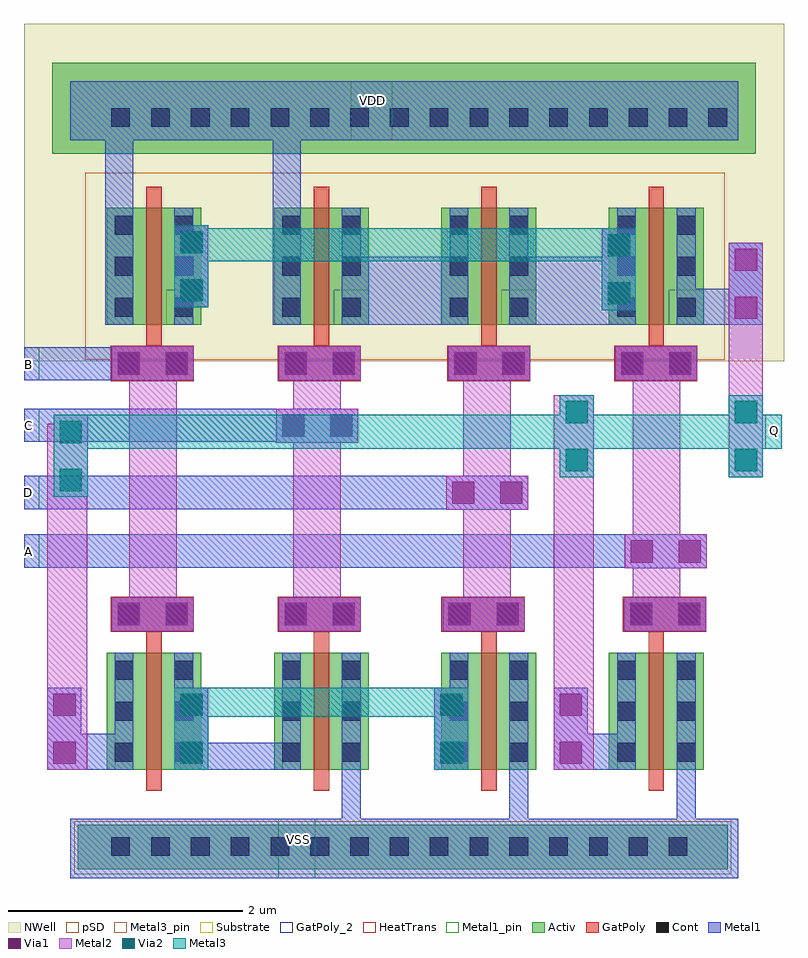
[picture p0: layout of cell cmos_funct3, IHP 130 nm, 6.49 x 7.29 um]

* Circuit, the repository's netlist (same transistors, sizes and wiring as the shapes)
** sch_path: /home/juan/Documents/Digital_module/Lab1/cmos_funct3.sch
.subckt cmos_funct3 Q B C D A VDD VSS
*.opin Q
*.ipin B
*.ipin C
*.ipin D
*.ipin A
*.ipin VDD
*.ipin VSS
M1 net1 C VDD VDD sg13_lv_pmos w=1u l=0.13u ng=1 m=1
M2 net2 B VDD VDD sg13_lv_pmos w=1u l=0.13u ng=1 m=1
M3 net2 D net1 VDD sg13_lv_pmos w=1u l=0.13u ng=1 m=1
M4 Q A net2 VDD sg13_lv_pmos w=1u l=0.13u ng=1 m=1
M5 Q B net3 VSS sg13_lv_nmos w=1u l=0.13u ng=1 m=1
M6 Q A VSS VSS sg13_lv_nmos w=1u l=0.13u ng=1 m=1
M7 net3 C VSS VSS sg13_lv_nmos w=1u l=0.13u ng=1 m=1
M8 net3 D VSS VSS sg13_lv_nmos w=1u l=0.13u ng=1 m=1
**.ends
.end

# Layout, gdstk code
import gdstk
lib = gdstk.Library(unit=1e-6, precision=1e-09)
def R(c, l, rs):  # rectangles x0, y0, x1, y1
    for r in rs: c.add(gdstk.rectangle(r[:2], r[2:], *l))
def A(c, l, x, y, w, h, nx, ny, dx, dy):  # array of equal rectangles
    R(c, l, [(x+i*dx, y+j*dy, x+i*dx+w, y+j*dy+h) for i in range(nx) for j in range(ny)])
Activ = (1, 0)
GatPoly = (5, 0)
GatPoly_2 = (5, 2)
Cont = (6, 0)
Metal1 = (8, 0)
Metal1_pin = (8, 2)
Metal2 = (10, 0)
pSD = (14, 0)
Via1 = (19, 0)
Via2 = (29, 0)
Metal3 = (30, 0)
Metal3_pin = (30, 2)
NWell = (31, 0)
Substrate = (40, 0)
HeatTrans = (51, 0)

pmos_1 = lib.new_cell('pmos$1')
R(pmos_1, Activ, [(0,0,0.3,0.3), (0,0,0.81,1), (0.51,0,0.81,0.3)])
R(pmos_1, GatPoly, [(0.34,-0.18,0.47,1.18), (0.34,-0.18,0.47,1.18)])
A(pmos_1, Cont, 0.07, 0.07, 0.16, 0.16, 1, 3, 0, 0.35)
A(pmos_1, Cont, 0.58, 0.07, 0.16, 0.16, 1, 3, 0, 0.35)
R(pmos_1, Metal1, [(0.07,0,0.23,1), (0.07,0,0.23,1), (0.58,0,0.74,1), (0.58,0,0.74,1)])
R(pmos_1, pSD, [(-0.18,-0.3,0.99,1.3)])
R(pmos_1, NWell, [(-0.31,-0.31,1.12,1.31)])
R(pmos_1, Substrate, [(0.51,0,0.81,0.3)])
R(pmos_1, HeatTrans, [(0.34,-0.18,0.47,1.18)])
pmos_1.add(gdstk.Label('pmos', (0.405,0.5), layer=63, texttype=0))
pmos_1.add(gdstk.Label('pmos', (0.405,0.5), layer=51, texttype=0))

nmos_1 = lib.new_cell('nmos$1')
R(nmos_1, Activ, [(0,0,0.3,0.3), (0,0,0.81,1), (0.51,0,0.81,0.3)])
R(nmos_1, GatPoly, [(0.34,-0.18,0.47,1.18)])
R(nmos_1, GatPoly_2, [(0.34,-0.18,0.47,1.18)])
A(nmos_1, Cont, 0.07, 0.07, 0.16, 0.16, 1, 3, 0, 0.35)
A(nmos_1, Cont, 0.58, 0.07, 0.16, 0.16, 1, 3, 0, 0.35)
R(nmos_1, Metal1, [(0.07,0,0.23,1), (0.58,0,0.74,1)])
R(nmos_1, Metal1_pin, [(0.07,0,0.23,1), (0.58,0,0.74,1)])
R(nmos_1, HeatTrans, [(0.34,-0.18,0.47,1.18)])
nmos_1.add(gdstk.Label('nmos', (0.405,0.5), layer=63, texttype=0))
nmos_1.add(gdstk.Label('nmos', (0.405,0.5), layer=51, texttype=0))

via_stack_1 = lib.new_cell('via_stack$1')
R(via_stack_1, Metal1, [(-0.35,-0.145,0.35,0.145)])
R(via_stack_1, Metal2, [(-0.35,-0.145,0.35,0.145)])
R(via_stack_1, Via1, [(-0.3,-0.095,-0.11,0.095), (0.11,-0.095,0.3,0.095)])

via_stack = lib.new_cell('via_stack')
R(via_stack, Metal1, [(-0.145,-0.35,0.145,0.35)])
R(via_stack, Metal2, [(-0.145,-0.35,0.145,0.35)])
R(via_stack, Via1, [(-0.095,-0.3,0.095,-0.11), (-0.095,0.11,0.095,0.3)])
R(via_stack, Via2, [(-0.095,-0.3,0.095,-0.11), (-0.095,0.11,0.095,0.3)])
R(via_stack, Metal3, [(-0.145,-0.35,0.145,0.35)])

via_stack_2 = lib.new_cell('via_stack$2')
R(via_stack_2, Metal1, [(-0.145,-0.35,0.145,0.35)])
R(via_stack_2, Metal2, [(-0.145,-0.35,0.145,0.35)])
R(via_stack_2, Via1, [(-0.095,-0.3,0.095,-0.11), (-0.095,0.11,0.095,0.3)])

via_stack_4 = lib.new_cell('via_stack$4')
R(via_stack_4, Metal2, [(-0.145,-0.35,0.145,0.35)])
R(via_stack_4, Via2, [(-0.095,-0.3,0.095,-0.11), (-0.095,0.11,0.095,0.3)])
R(via_stack_4, Metal3, [(-0.145,-0.35,0.145,0.35)])

cmos_funct3 = lib.new_cell('cmos_funct3')
R(cmos_funct3, Activ, [(-1.27,-4.26,4.28,-3.88), (-1.49,1.85,4.52,2.63)])
R(cmos_funct3, GatPoly, [(-0.99,-2.23,-0.28,-1.93), (-0.99,-2.23,-0.28,-1.93), (0.435,-2.23,1.145,-1.93), (0.435,-2.23,1.145,-1.93), (1.835,-2.23,2.545,-1.93), (1.835,-2.23,2.545,-1.93), (3.385,-2.23,4.095,-1.93), (3.385,-2.23,4.095,-1.93), (-0.99,-0.09,-0.28,0.21), (-0.99,-0.09,-0.28,0.21), (0.435,-0.09,1.145,0.21), (0.435,-0.09,1.145,0.21), (1.885,-0.09,2.595,0.21), (1.885,-0.09,2.595,0.21), (3.31,-0.09,4.02,0.21), (3.31,-0.09,4.02,0.21)])
A(cmos_funct3, Cont, -0.985, -4.145, 0.16, 0.16, 5, 2, 0.34, 6.225)
A(cmos_funct3, Cont, 0.375, -4.145, 0.16, 0.16, 11, 1, 0.34, 0)
A(cmos_funct3, Cont, 0.375, 2.08, 0.16, 0.16, 12, 1, 0.34, 0)
R(cmos_funct3, Cont, [(-0.92,-2.16,-0.76,-2), (-0.92,-2.16,-0.76,-2), (-0.51,-2.16,-0.35,-2), (0.505,-2.16,0.665,-2), (0.505,-2.16,0.665,-2), (0.915,-2.16,1.075,-2), (1.905,-2.16,2.065,-2), (1.905,-2.16,2.065,-2), (2.315,-2.16,2.475,-2), (3.455,-2.16,3.615,-2), (3.455,-2.16,3.615,-2), (3.865,-2.16,4.025,-2), (-0.92,-0.02,-0.76,0.14), (-0.92,-0.02,-0.76,0.14), (-0.51,-0.02,-0.35,0.14), (0.505,-0.02,0.665,0.14), (0.505,-0.02,0.665,0.14), (0.915,-0.02,1.075,0.14), (1.955,-0.02,2.115,0.14), (1.955,-0.02,2.115,0.14), (2.365,-0.02,2.525,0.14), (3.38,-0.02,3.54,0.14), (3.38,-0.02,3.54,0.14), (3.79,-0.02,3.95,0.14)])
R(cmos_funct3, Metal1, [(-1.335,-4.335,4.37,-3.83), (0.985,-3.915,1.145,-3.41), (3.845,-3.88,4.005,-3.41), (2.415,-3.86,2.575,-3.4), (-1.53,-3.41,-0.955,-3.1), (-0.285,-3.41,0.475,-3.18), (2.795,-3.41,3.37,-3.1), (-0.98,-2.225,-0.28,-1.935), (-0.98,-2.225,-0.28,-1.935), (-0.98,-2.225,-0.28,-1.935), (-0.98,-2.225,-0.28,-1.935), (-0.98,-2.225,-0.28,-1.935), (-0.98,-2.225,-0.28,-1.935), (0.445,-2.225,1.145,-1.935), (0.445,-2.225,1.145,-1.935), (0.445,-2.225,1.145,-1.935), (0.445,-2.225,1.145,-1.935), (0.445,-2.225,1.145,-1.935), (0.445,-2.225,1.145,-1.935), (1.845,-2.225,2.545,-1.935), (1.845,-2.225,2.545,-1.935), (1.845,-2.225,2.545,-1.935), (1.845,-2.225,2.545,-1.935), (1.845,-2.225,2.545,-1.935), (1.845,-2.225,2.545,-1.935), (3.395,-2.225,4.095,-1.935), (3.395,-2.225,4.095,-1.935), (3.395,-2.225,4.095,-1.935), (3.395,-2.225,4.095,-1.935), (3.395,-2.225,4.095,-1.935), (3.395,-2.225,4.095,-1.935), (-1.73,-1.685,3.875,-1.4), (-1.73,-1.185,2.425,-0.9), (-1.73,-0.61,0.975,-0.325), (-1.73,-0.085,-0.98,0.2), (-0.98,-0.085,-0.28,0.205), (-0.98,-0.085,-0.28,0.205), (-0.98,-0.085,-0.28,0.205), (-0.98,-0.085,-0.28,0.205), (-0.98,-0.085,-0.28,0.205), (-0.98,-0.085,-0.28,0.205), (0.445,-0.085,1.145,0.205), (0.445,-0.085,1.145,0.205), (0.445,-0.085,1.145,0.205), (0.445,-0.085,1.145,0.205), (0.445,-0.085,1.145,0.205), (0.445,-0.085,1.145,0.205), (1.895,-0.085,2.595,0.205), (1.895,-0.085,2.595,0.205), (1.895,-0.085,2.595,0.205), (1.895,-0.085,2.595,0.205), (1.895,-0.085,2.595,0.205), (1.895,-0.085,2.595,0.205), (3.32,-0.085,4.02,0.205), (3.32,-0.085,4.02,0.205), (3.32,-0.085,4.02,0.205), (3.32,-0.085,4.02,0.205), (3.32,-0.085,4.02,0.205), (3.32,-0.085,4.02,0.205), (-1.035,0.39,-0.795,1.965), (0.395,0.39,0.635,1.965), (1.145,0.39,1.905,0.97), (2.575,0.39,3.335,0.97), (4.005,0.39,4.58,0.7), (-1.335,1.965,4.37,2.47)])
R(cmos_funct3, Metal1_pin, [(0.44,-4.335,0.755,-3.83), (-1.73,-1.685,-1.6,-1.4), (-1.73,-1.185,-1.6,-0.9), (-1.73,-0.61,-1.6,-0.325), (-1.73,-0.085,-1.6,0.2), (1.06,1.965,1.415,2.47)])
R(cmos_funct3, Metal2, [(-1.53,-3.41,-1.19,-0.455), (2.795,-3.41,3.135,-0.21), (-0.98,-2.225,-0.28,-1.935), (-0.98,-2.225,-0.28,-1.935), (-0.98,-2.225,-0.28,-1.935), (-0.98,-2.225,-0.28,-1.935), (-0.98,-2.225,-0.28,-1.935), (-0.98,-2.225,-0.28,-1.935), (0.445,-2.225,1.145,-1.935), (0.445,-2.225,1.145,-1.935), (0.445,-2.225,1.145,-1.935), (0.445,-2.225,1.145,-1.935), (0.445,-2.225,1.145,-1.935), (0.445,-2.225,1.145,-1.935), (1.845,-2.225,2.545,-1.935), (1.845,-2.225,2.545,-1.935), (1.845,-2.225,2.545,-1.935), (1.845,-2.225,2.545,-1.935), (1.845,-2.225,2.545,-1.935), (1.845,-2.225,2.545,-1.935), (3.395,-2.225,4.095,-1.935), (3.395,-2.225,4.095,-1.935), (3.395,-2.225,4.095,-1.935), (3.395,-2.225,4.095,-1.935), (3.395,-2.225,4.095,-1.935), (3.395,-2.225,4.095,-1.935), (3.47,-1.945,3.875,-0.075), (-0.83,-1.94,-0.425,-0.075), (0.57,-1.94,0.975,-0.08), (2.02,-1.94,2.425,-0.075), (4.29,-0.67,4.58,0.39), (-0.98,-0.085,-0.28,0.205), (-0.98,-0.085,-0.28,0.205), (-0.98,-0.085,-0.28,0.205), (-0.98,-0.085,-0.28,0.205), (-0.98,-0.085,-0.28,0.205), (-0.98,-0.085,-0.28,0.205), (0.445,-0.085,1.145,0.205), (0.445,-0.085,1.145,0.205), (0.445,-0.085,1.145,0.205), (0.445,-0.085,1.145,0.205), (0.445,-0.085,1.145,0.205), (0.445,-0.085,1.145,0.205), (1.895,-0.085,2.595,0.205), (1.895,-0.085,2.595,0.205), (1.895,-0.085,2.595,0.205), (1.895,-0.085,2.595,0.205), (1.895,-0.085,2.595,0.205), (1.895,-0.085,2.595,0.205), (3.32,-0.085,4.02,0.205), (3.32,-0.085,4.02,0.205), (3.32,-0.085,4.02,0.205), (3.32,-0.085,4.02,0.205), (3.32,-0.085,4.02,0.205), (3.32,-0.085,4.02,0.205)])
R(cmos_funct3, pSD, [(-1.3,-4.3,4.31,-3.85), (-0.035,0.09,3.085,1.69)])
R(cmos_funct3, Via1, [(-0.93,-2.175,-0.74,-1.985), (-0.93,-2.175,-0.74,-1.985), (-0.93,-2.175,-0.74,-1.985), (-0.93,-2.175,-0.74,-1.985), (-0.93,-2.175,-0.74,-1.985), (-0.93,-2.175,-0.74,-1.985), (-0.52,-2.175,-0.33,-1.985), (-0.52,-2.175,-0.33,-1.985), (-0.52,-2.175,-0.33,-1.985), (-0.52,-2.175,-0.33,-1.985), (-0.52,-2.175,-0.33,-1.985), (-0.52,-2.175,-0.33,-1.985), (0.495,-2.175,0.685,-1.985), (0.495,-2.175,0.685,-1.985), (0.495,-2.175,0.685,-1.985), (0.495,-2.175,0.685,-1.985), (0.495,-2.175,0.685,-1.985), (0.495,-2.175,0.685,-1.985), (0.905,-2.175,1.095,-1.985), (0.905,-2.175,1.095,-1.985), (0.905,-2.175,1.095,-1.985), (0.905,-2.175,1.095,-1.985), (0.905,-2.175,1.095,-1.985), (0.905,-2.175,1.095,-1.985), (1.895,-2.175,2.085,-1.985), (1.895,-2.175,2.085,-1.985), (1.895,-2.175,2.085,-1.985), (1.895,-2.175,2.085,-1.985), (1.895,-2.175,2.085,-1.985), (1.895,-2.175,2.085,-1.985), (2.305,-2.175,2.495,-1.985), (2.305,-2.175,2.495,-1.985), (2.305,-2.175,2.495,-1.985), (2.305,-2.175,2.495,-1.985), (2.305,-2.175,2.495,-1.985), (2.305,-2.175,2.495,-1.985), (3.445,-2.175,3.635,-1.985), (3.445,-2.175,3.635,-1.985), (3.445,-2.175,3.635,-1.985), (3.445,-2.175,3.635,-1.985), (3.445,-2.175,3.635,-1.985), (3.445,-2.175,3.635,-1.985), (3.855,-2.175,4.045,-1.985), (3.855,-2.175,4.045,-1.985), (3.855,-2.175,4.045,-1.985), (3.855,-2.175,4.045,-1.985), (3.855,-2.175,4.045,-1.985), (3.855,-2.175,4.045,-1.985), (-0.93,-0.035,-0.74,0.155), (-0.93,-0.035,-0.74,0.155), (-0.93,-0.035,-0.74,0.155), (-0.93,-0.035,-0.74,0.155), (-0.93,-0.035,-0.74,0.155), (-0.93,-0.035,-0.74,0.155), (-0.52,-0.035,-0.33,0.155), (-0.52,-0.035,-0.33,0.155), (-0.52,-0.035,-0.33,0.155), (-0.52,-0.035,-0.33,0.155), (-0.52,-0.035,-0.33,0.155), (-0.52,-0.035,-0.33,0.155), (0.495,-0.035,0.685,0.155), (0.495,-0.035,0.685,0.155), (0.495,-0.035,0.685,0.155), (0.495,-0.035,0.685,0.155), (0.495,-0.035,0.685,0.155), (0.495,-0.035,0.685,0.155), (0.905,-0.035,1.095,0.155), (0.905,-0.035,1.095,0.155), (0.905,-0.035,1.095,0.155), (0.905,-0.035,1.095,0.155), (0.905,-0.035,1.095,0.155), (0.905,-0.035,1.095,0.155), (1.945,-0.035,2.135,0.155), (1.945,-0.035,2.135,0.155), (1.945,-0.035,2.135,0.155), (1.945,-0.035,2.135,0.155), (1.945,-0.035,2.135,0.155), (1.945,-0.035,2.135,0.155), (2.355,-0.035,2.545,0.155), (2.355,-0.035,2.545,0.155), (2.355,-0.035,2.545,0.155), (2.355,-0.035,2.545,0.155), (2.355,-0.035,2.545,0.155), (2.355,-0.035,2.545,0.155), (3.37,-0.035,3.56,0.155), (3.37,-0.035,3.56,0.155), (3.37,-0.035,3.56,0.155), (3.37,-0.035,3.56,0.155), (3.37,-0.035,3.56,0.155), (3.37,-0.035,3.56,0.155), (3.78,-0.035,3.97,0.155), (3.78,-0.035,3.97,0.155), (3.78,-0.035,3.97,0.155), (3.78,-0.035,3.97,0.155), (3.78,-0.035,3.97,0.155), (3.78,-0.035,3.97,0.155)])
R(cmos_funct3, Metal3, [(-0.155,-2.955,1.775,-2.71), (-1.185,-0.67,4.74,-0.38), (-0.155,0.935,3.37,1.215)])
R(cmos_funct3, Metal3_pin, [(4.6,-0.67,4.74,-0.38)])
R(cmos_funct3, NWell, [(-1.73,0.08,-1.335,1.7), (4.385,0.08,4.76,1.7), (-1.73,1.7,4.76,2.96), (-1.73,1.7,4.76,2.96)])
cmos_funct3.add(gdstk.Reference(pmos_1, (-1.025,0.39)))
cmos_funct3.add(gdstk.Reference(pmos_1, (0.405,0.39)))
cmos_funct3.add(gdstk.Reference(pmos_1, (1.835,0.39)))
cmos_funct3.add(gdstk.Reference(pmos_1, (3.265,0.39)))
cmos_funct3.add(gdstk.Reference(nmos_1, (0.405,-3.41)))
cmos_funct3.add(gdstk.Reference(nmos_1, (-1.025,-3.41)))
cmos_funct3.add(gdstk.Reference(nmos_1, (1.835,-3.41)))
cmos_funct3.add(gdstk.Reference(nmos_1, (3.265,-3.41)))
cmos_funct3.add(gdstk.Reference(via_stack_1, (0.775,-0.47)))
cmos_funct3.add(gdstk.Reference(via_stack_1, (2.225,-1.045)))
cmos_funct3.add(gdstk.Reference(via_stack_1, (3.75,-1.545)))
cmos_funct3.add(gdstk.Reference(via_stack, (-0.3,-3.06)))
cmos_funct3.add(gdstk.Reference(via_stack, (1.92,-3.06)))
cmos_funct3.add(gdstk.Reference(via_stack_2, (-1.385,-3.06)))
cmos_funct3.add(gdstk.Reference(via_stack_2, (2.94,-3.06)))
cmos_funct3.add(gdstk.Reference(via_stack_4, (-1.33,-0.73)))
cmos_funct3.add(gdstk.Reference(via_stack_4, (2.99,-0.56)))
cmos_funct3.add(gdstk.Reference(via_stack, (-0.3,0.89)))
cmos_funct3.add(gdstk.Reference(via_stack, (3.35,0.865)))
cmos_funct3.add(gdstk.Reference(via_stack_2, (4.435,0.74)))
cmos_funct3.add(gdstk.Reference(via_stack_4, (4.435,-0.56)))
cmos_funct3.add(gdstk.Label('D', (-1.695,-1.045), layer=8, texttype=2))
cmos_funct3.add(gdstk.Label('B', (-1.695,0.055), layer=8, texttype=2))
cmos_funct3.add(gdstk.Label('C', (-1.695,-0.47), layer=8, texttype=2))
cmos_funct3.add(gdstk.Label('A', (-1.695,-1.545), layer=8, texttype=2))
cmos_funct3.add(gdstk.Label('VSS', (0.61,-4.005), layer=8, texttype=2))
cmos_funct3.add(gdstk.Label('VDD', (1.25,2.305), layer=8, texttype=2))
cmos_funct3.add(gdstk.Label('Q', (4.68,-0.515), layer=30, texttype=2))

lib.write_gds('cmos_funct3.gds')
